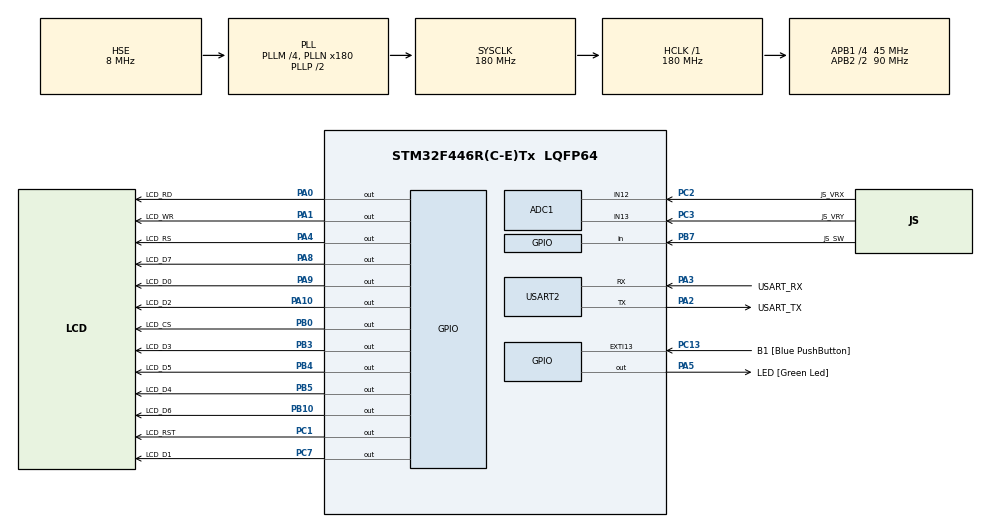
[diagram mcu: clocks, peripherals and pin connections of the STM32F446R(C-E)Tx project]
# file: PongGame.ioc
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ADC1.Channel-0\#ChannelRegularConversion=ADC_CHANNEL_12
ADC1.Channel-1\#ChannelRegularConversion=ADC_CHANNEL_13
ADC1.NbrOfConversion=2
ADC1.NbrOfConversionFlag=1
ADC1.Rank-0\#ChannelRegularConversion=1
ADC1.Rank-1\#ChannelRegularConversion=2
ADC1.SamplingTime-0\#ChannelRegularConversion=ADC_SAMPLETIME_15CYCLES
ADC1.SamplingTime-1\#ChannelRegularConversion=ADC_SAMPLETIME_15CYCLES
ADC1.master=1
Mcu.Family=STM32F4
Mcu.Name=STM32F446R(C-E)Tx
Mcu.Package=LQFP64
NVIC.PriorityGroup=NVIC_PRIORITYGROUP_0
PA0-WKUP.GPIO_Label=LCD_RD
PA0-WKUP.Signal=GPIO_Output
PA1.GPIO_Label=LCD_WR
PA1.Signal=GPIO_Output
PA10.GPIO_Label=LCD_D2
PA10.Signal=GPIO_Output
PA13.GPIO_Label=TMS
PA13.Mode=Serial_Wire
PA13.Signal=SYS_JTMS-SWDIO
PA14.GPIO_Label=TCK
PA14.Mode=Serial_Wire
PA14.Signal=SYS_JTCK-SWCLK
PA2.GPIO_Label=USART_TX
PA2.Mode=Asynchronous
PA2.Signal=USART2_TX
PA3.GPIO_Label=USART_RX
PA3.Mode=Asynchronous
PA3.Signal=USART2_RX
PA4.GPIO_Label=LCD_RS
PA4.Signal=GPIO_Output
PA5.GPIO_Label=LED [Green Led]
PA5.Signal=GPIO_Output
PA8.GPIO_Label=LCD_D7
PA8.Signal=GPIO_Output
PA9.GPIO_Label=LCD_D0
PA9.Signal=GPIO_Output
PB0.GPIO_Label=LCD_CS
PB0.Signal=GPIO_Output
PB10.GPIO_Label=LCD_D6
PB10.Signal=GPIO_Output
PB3.GPIO_Label=LCD_D3
PB3.Signal=GPIO_Output
PB4.GPIO_Label=LCD_D5
PB4.Signal=GPIO_Output
PB5.GPIO_Label=LCD_D4
PB5.Signal=GPIO_Output
PB7.GPIO_Label=JS_SW
PB7.GPIO_PuPd=GPIO_PULLUP
PB7.Signal=GPIO_Input
PC1.GPIO_Label=LCD_RST
PC1.Signal=GPIO_Output
PC13.GPIO_Label=B1 [Blue PushButton]
PC13.GPIO_ModeDefaultEXTI=GPIO_MODE_IT_FALLING
PC13.Signal=GPXTI13
PC14-OSC32_IN.Mode=LSE-External-Oscillator
PC14-OSC32_IN.Signal=RCC_OSC32_IN
PC15-OSC32_OUT.Mode=LSE-External-Oscillator
PC15-OSC32_OUT.Signal=RCC_OSC32_OUT
PC2.GPIO_Label=JS_VRX
PC2.Signal=ADCx_IN12
PC3.GPIO_Label=JS_VRY
PC3.Signal=ADCx_IN13
PC7.GPIO_Label=LCD_D1
PC7.Signal=GPIO_Output
PH0-OSC_IN.Mode=HSE-External-Oscillator
PH0-OSC_IN.Signal=RCC_OSC_IN
PH1-OSC_OUT.Mode=HSE-External-Oscillator
PH1-OSC_OUT.Signal=RCC_OSC_OUT
ProjectManager.HeapSize=0x200
ProjectManager.StackSize=0x400
ProjectManager.TargetToolchain=CMake
RCC.48MHZClocksFreq_Value=84000000
RCC.AHBFreq_Value=180000000
RCC.APB1CLKDivider=RCC_HCLK_DIV4
RCC.APB1Freq_Value=45000000
RCC.APB1TimFreq_Value=90000000
RCC.APB2CLKDivider=RCC_HCLK_DIV2
RCC.APB2Freq_Value=90000000
RCC.APB2TimFreq_Value=180000000
RCC.CortexFreq_Value=180000000
RCC.FLatency-AdvancedSettings=FLASH_LATENCY_5
RCC.HCLKFreq_Value=180000000
RCC.HSE_VALUE=8000000
RCC.HSI_VALUE=16000000
RCC.PLLM=4
RCC.PLLN=180
RCC.PLLSourceVirtual=RCC_PLLSOURCE_HSE
RCC.SYSCLKFreq_VALUE=180000000
RCC.SYSCLKSource=RCC_SYSCLKSOURCE_PLLCLK
RCC.USBFreq_Value=180000000
RCC.VCOOutputFreq_Value=360000000
SH.ADCx_IN12.0=ADC1_IN12,IN12
SH.ADCx_IN13.0=ADC1_IN13,IN13
TIM1.Period=65535-1
TIM1.Prescaler=180-1
USART2.VirtualMode=VM_ASYNC
VP_TIM1_VS_ClockSourceINT.Mode=Internal
board=NUCLEO-F446RE

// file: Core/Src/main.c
/* USER CODE BEGIN Header */
/**
  ******************************************************************************
  * @file           : main.c
  * @brief          : Main program body
  ******************************************************************************
  * @attention
  *
  * Copyright (c) 2024 STMicroelectronics.
  * All rights reserved.
  *
  * This software is licensed under terms that can be found in the LICENSE file
  * in the root directory of this software component.
  * If no LICENSE file comes with this software, it is provided AS-IS.
  *
  ******************************************************************************
  */
/* USER CODE END Header */
#include "main.h"

/* USER CODE BEGIN Includes */

#include "ScreenManager.h"
#include "Screen.h"
#include "Serial.h"
#include "Joystick.h"

#include "screenIntro.h"
#include "screenBlank.h"
#include "screenMainMenu.h"
#include "screenSettings.h"
#include "screenGame.h"

#include "fonts.h"
#include "tft.h"
#include "functions.h"

/* USER CODE END Includes */

/* USER CODE BEGIN PD */
uint16_t ID = 0;
uint16_t raw[2];
struct screenManager scrmng;
/* USER CODE END PD */

ADC_HandleTypeDef hadc1;

TIM_HandleTypeDef htim1;

UART_HandleTypeDef huart2;

void SystemClock_Config(void);
static void MX_GPIO_Init(void);
static void MX_ADC1_Init(void);
static void MX_USART2_UART_Init(void);
static void MX_TIM1_Init(void);
/* USER CODE BEGIN PFP */
void initModules();
void selectScreen( struct screenManager *sm );
void evaluateScreen( struct screenManager *sm );
/* USER CODE END PFP */

/* USER CODE BEGIN 0 */

void evaluateScreen( struct screenManager *sm )
{
  if ( sm->actualScreen == 1 )
  {
    timeCounter_verifyTimer( &scrmng.s.tc );
    if ( scrmng.s.tc.timerReached )
    {
      timeCounter_endTimer(&scrmng.s.tc);
      sm->actualScreen = 3 ;
    }
  }
  else if (sm->actualScreen == 3)
  {
    screenMainMenu_verifyTimer(sm);
  }
  else if (sm->actualScreen == 4)
  {
    screenSettings_eval(sm);
  }
  else if (sm->actualScreen == 5)
  {
    screenGame_eval(sm);
  }
}

void selectScreen( struct screenManager *sm )
{
  sm->s.screenNumber = sm->actualScreen;
  switch (sm->actualScreen)
  {
  case 1:
    screenIntro_init(sm);
    if ( sm->s.tc.delay > 0)
    {
      timeCounter_initTimer( &sm->s.tc );
    }
    break;
  case 2:
    screenBlank_init(sm);
    break;
  case 3:
    screenMainMenu_init(sm);
    break;
  case 4:
    screenSettings_init(sm);
    break;
  case 5:
    screenGame_init(sm);
    break;
  default:
    break;
  }
}

void initModules()
{
  int err = -1;
  ID = readID();
  serialPrint("id: %x\n", ID && 0xffff);
  HAL_Delay(100);
  tft_init(ID);
  setRotation(1);
  scrmng.totalScreens = 5;
  err = screenManager_init(&scrmng);
  scrmng.actualScreen = 1;
  selectScreen( &scrmng );
}
/* USER CODE END 0 */

int main(void)
{

  /* MCU Configuration--------------------------------------------------------*/

  /* Reset of all peripherals, Initializes the Flash interface and the Systick. */
  HAL_Init();

  /* Configure the system clock */
  SystemClock_Config();

  /* Initialize all configured peripherals */
  MX_GPIO_Init();
  MX_ADC1_Init();
  MX_USART2_UART_Init();
  MX_TIM1_Init();
  /* USER CODE BEGIN 2 */
  HAL_TIM_Base_Start(&htim1);

  initModules();

  /* USER CODE END 2 */

  /* Infinite loop */
  while (1)
  {
    uint8_t actualScreenM = scrmng.actualScreen;
    evaluateScreen(&scrmng);
    if( actualScreenM != scrmng.actualScreen )
    {
      selectScreen( &scrmng );
    }
  }
}

void SystemClock_Config(void)
{
  RCC_OscInitTypeDef RCC_OscInitStruct = {0};
  RCC_ClkInitTypeDef RCC_ClkInitStruct = {0};

  /** Configure the main internal regulator output voltage
  */
  __HAL_RCC_PWR_CLK_ENABLE();
  __HAL_PWR_VOLTAGESCALING_CONFIG(PWR_REGULATOR_VOLTAGE_SCALE1);

  /** Initializes the RCC Oscillators according to the specified parameters
  * in the RCC_OscInitTypeDef structure.
  */
  RCC_OscInitStruct.OscillatorType = RCC_OSCILLATORTYPE_HSE;
  RCC_OscInitStruct.HSEState = RCC_HSE_ON;
  RCC_OscInitStruct.PLL.PLLState = RCC_PLL_ON;
  RCC_OscInitStruct.PLL.PLLSource = RCC_PLLSOURCE_HSE;
  RCC_OscInitStruct.PLL.PLLM = 4;
  RCC_OscInitStruct.PLL.PLLN = 180;
  RCC_OscInitStruct.PLL.PLLP = RCC_PLLP_DIV2;
  RCC_OscInitStruct.PLL.PLLQ = 2;
  RCC_OscInitStruct.PLL.PLLR = 2;
  if (HAL_RCC_OscConfig(&RCC_OscInitStruct) != HAL_OK)
  {
    Error_Handler();
  }

  /** Activate the Over-Drive mode
  */
  if (HAL_PWREx_EnableOverDrive() != HAL_OK)
  {
    Error_Handler();
  }

  /** Initializes the CPU, AHB and APB buses clocks
  */
  RCC_ClkInitStruct.ClockType = RCC_CLOCKTYPE_HCLK|RCC_CLOCKTYPE_SYSCLK
                              |RCC_CLOCKTYPE_PCLK1|RCC_CLOCKTYPE_PCLK2;
  RCC_ClkInitStruct.SYSCLKSource = RCC_SYSCLKSOURCE_PLLCLK;
  RCC_ClkInitStruct.AHBCLKDivider = RCC_SYSCLK_DIV1;
  RCC_ClkInitStruct.APB1CLKDivider = RCC_HCLK_DIV4;
  RCC_ClkInitStruct.APB2CLKDivider = RCC_HCLK_DIV2;

  if (HAL_RCC_ClockConfig(&RCC_ClkInitStruct, FLASH_LATENCY_5) != HAL_OK)
  {
    Error_Handler();
  }
}

static void MX_ADC1_Init(void)
{

  ADC_ChannelConfTypeDef sConfig = {0};

  /** Configure the global features of the ADC (Clock, Resolution, Data Alignment and number of conversion)
  */
  hadc1.Instance = ADC1;
  hadc1.Init.ClockPrescaler = ADC_CLOCK_SYNC_PCLK_DIV4;
  hadc1.Init.Resolution = ADC_RESOLUTION_12B;
  hadc1.Init.ScanConvMode = ENABLE;
  hadc1.Init.ContinuousConvMode = DISABLE;
  hadc1.Init.DiscontinuousConvMode = DISABLE;
  hadc1.Init.ExternalTrigConvEdge = ADC_EXTERNALTRIGCONVEDGE_NONE;
  hadc1.Init.ExternalTrigConv = ADC_SOFTWARE_START;
  hadc1.Init.DataAlign = ADC_DATAALIGN_RIGHT;
  hadc1.Init.NbrOfConversion = 2;
  hadc1.Init.DMAContinuousRequests = DISABLE;
  hadc1.Init.EOCSelection = ADC_EOC_SINGLE_CONV;
  if (HAL_ADC_Init(&hadc1) != HAL_OK)
  {
    Error_Handler();
  }

  /** Configure for the selected ADC regular channel its corresponding rank in the sequencer and its sample time.
  */
  sConfig.Channel = ADC_CHANNEL_12;
  sConfig.Rank = 1;
  sConfig.SamplingTime = ADC_SAMPLETIME_15CYCLES;
  if (HAL_ADC_ConfigChannel(&hadc1, &sConfig) != HAL_OK)
  {
    Error_Handler();
  }

  /** Configure for the selected ADC regular channel its corresponding rank in the sequencer and its sample time.
  */
  sConfig.Channel = ADC_CHANNEL_13;
  sConfig.Rank = 2;
  if (HAL_ADC_ConfigChannel(&hadc1, &sConfig) != HAL_OK)
  {
    Error_Handler();
  }

}

static void MX_TIM1_Init(void)
{

  TIM_ClockConfigTypeDef sClockSourceConfig = {0};
  TIM_MasterConfigTypeDef sMasterConfig = {0};

  htim1.Instance = TIM1;
  htim1.Init.Prescaler = 180-1;
  htim1.Init.CounterMode = TIM_COUNTERMODE_UP;
  htim1.Init.Period = 65535-1;
  htim1.Init.ClockDivision = TIM_CLOCKDIVISION_DIV1;
  htim1.Init.RepetitionCounter = 0;
  htim1.Init.AutoReloadPreload = TIM_AUTORELOAD_PRELOAD_DISABLE;
  if (HAL_TIM_Base_Init(&htim1) != HAL_OK)
  {
    Error_Handler();
  }
  sClockSourceConfig.ClockSource = TIM_CLOCKSOURCE_INTERNAL;
  if (HAL_TIM_ConfigClockSource(&htim1, &sClockSourceConfig) != HAL_OK)
  {
    Error_Handler();
  }
  sMasterConfig.MasterOutputTrigger = TIM_TRGO_RESET;
  sMasterConfig.MasterSlaveMode = TIM_MASTERSLAVEMODE_DISABLE;
  if (HAL_TIMEx_MasterConfigSynchronization(&htim1, &sMasterConfig) != HAL_OK)
  {
    Error_Handler();
  }

}

static void MX_USART2_UART_Init(void)
{

  huart2.Instance = USART2;
  huart2.Init.BaudRate = 115200;
  huart2.Init.WordLength = UART_WORDLENGTH_8B;
  huart2.Init.StopBits = UART_STOPBITS_1;
  huart2.Init.Parity = UART_PARITY_NONE;
  huart2.Init.Mode = UART_MODE_TX_RX;
  huart2.Init.HwFlowCtl = UART_HWCONTROL_NONE;
  huart2.Init.OverSampling = UART_OVERSAMPLING_16;
  if (HAL_UART_Init(&huart2) != HAL_OK)
  {
    Error_Handler();
  }

}

static void MX_GPIO_Init(void)
{
  GPIO_InitTypeDef GPIO_InitStruct = {0};

  /* GPIO Ports Clock Enable */
  __HAL_RCC_GPIOC_CLK_ENABLE();
  __HAL_RCC_GPIOH_CLK_ENABLE();
  __HAL_RCC_GPIOA_CLK_ENABLE();
  __HAL_RCC_GPIOB_CLK_ENABLE();

  /*Configure GPIO pin Output Level */
  HAL_GPIO_WritePin(GPIOC, LCD_RST_Pin|LCD_D1_Pin, GPIO_PIN_RESET);

  /*Configure GPIO pin Output Level */
  HAL_GPIO_WritePin(GPIOA, LCD_RD_Pin|LCD_WR_Pin|LCD_RS_Pin|LED_Pin
                          |LCD_D7_Pin|LCD_D0_Pin|LCD_D2_Pin, GPIO_PIN_RESET);

  /*Configure GPIO pin Output Level */
  HAL_GPIO_WritePin(GPIOB, LCD_CS_Pin|LCD_D6_Pin|LCD_D3_Pin|LCD_D5_Pin
                          |LCD_D4_Pin, GPIO_PIN_RESET);

  /*Configure GPIO pin : B1_Pin */
  GPIO_InitStruct.Pin = B1_Pin;
  GPIO_InitStruct.Mode = GPIO_MODE_IT_FALLING;
  GPIO_InitStruct.Pull = GPIO_NOPULL;
  HAL_GPIO_Init(B1_GPIO_Port, &GPIO_InitStruct);

  /*Configure GPIO pins : LCD_RST_Pin LCD_D1_Pin */
  GPIO_InitStruct.Pin = LCD_RST_Pin|LCD_D1_Pin;
  GPIO_InitStruct.Mode = GPIO_MODE_OUTPUT_PP;
  GPIO_InitStruct.Pull = GPIO_NOPULL;
  GPIO_InitStruct.Speed = GPIO_SPEED_FREQ_LOW;
  HAL_GPIO_Init(GPIOC, &GPIO_InitStruct);

  /*Configure GPIO pins : LCD_RD_Pin LCD_WR_Pin LCD_RS_Pin LED_Pin
                           LCD_D7_Pin LCD_D0_Pin LCD_D2_Pin */
  GPIO_InitStruct.Pin = LCD_RD_Pin|LCD_WR_Pin|LCD_RS_Pin|LED_Pin
                          |LCD_D7_Pin|LCD_D0_Pin|LCD_D2_Pin;
  GPIO_InitStruct.Mode = GPIO_MODE_OUTPUT_PP;
  GPIO_InitStruct.Pull = GPIO_NOPULL;
  GPIO_InitStruct.Speed = GPIO_SPEED_FREQ_LOW;
  HAL_GPIO_Init(GPIOA, &GPIO_InitStruct);

  /*Configure GPIO pins : LCD_CS_Pin LCD_D6_Pin LCD_D3_Pin LCD_D5_Pin
                           LCD_D4_Pin */
  GPIO_InitStruct.Pin = LCD_CS_Pin|LCD_D6_Pin|LCD_D3_Pin|LCD_D5_Pin
                          |LCD_D4_Pin;
  GPIO_InitStruct.Mode = GPIO_MODE_OUTPUT_PP;
  GPIO_InitStruct.Pull = GPIO_NOPULL;
  GPIO_InitStruct.Speed = GPIO_SPEED_FREQ_LOW;
  HAL_GPIO_Init(GPIOB, &GPIO_InitStruct);

  /*Configure GPIO pin : JS_SW_Pin */
  GPIO_InitStruct.Pin = JS_SW_Pin;
  GPIO_InitStruct.Mode = GPIO_MODE_INPUT;
  GPIO_InitStruct.Pull = GPIO_PULLUP;
  HAL_GPIO_Init(JS_SW_GPIO_Port, &GPIO_InitStruct);

}

void Error_Handler(void)
{
  __disable_irq();
  while (1)
  {
  }
}
